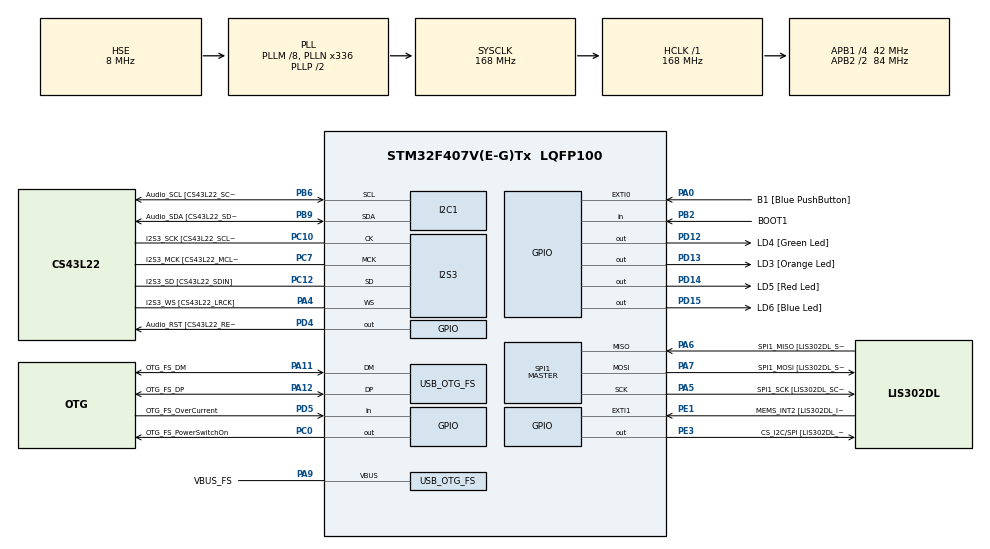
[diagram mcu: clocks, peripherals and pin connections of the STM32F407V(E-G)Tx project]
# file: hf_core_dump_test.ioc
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I2S3.AudioFreq-Half_Duplex_Master=I2S_AUDIOFREQ_96K
I2S3.ErrorAudioFreq=-2.34 %
I2S3.ErrorAudioFreq-Half_Duplex_Master=0.8 %
I2S3.FullDuplexMode=I2S_FULLDUPLEXMODE_DISABLE
I2S3.Instance=SPI$Index
I2S3.RealAudioFreq=93.75 KHz
I2S3.RealAudioFreq-Half_Duplex_Master=96.774 KHz
I2S3.VirtualMode=I2S_MODE_MASTER
Mcu.Family=STM32F4
Mcu.Name=STM32F407V(E-G)Tx
Mcu.Package=LQFP100
NVIC.OTG_FS_IRQn=true\:0\:0\:false\:false\:true\:true\:true\:true
NVIC.PriorityGroup=NVIC_PRIORITYGROUP_0
PA0-WKUP.GPIO_Label=B1 [Blue PushButton]
PA0-WKUP.GPIO_ModeDefaultEXTI=GPIO_MODE_EVT_RISING
PA0-WKUP.GPIO_PuPd=GPIO_NOPULL
PA0-WKUP.Signal=GPXTI0
PA10.GPIO_Label=OTG_FS_ID
PA10.GPIO_Mode=GPIO_MODE_AF_PP
PA10.GPIO_PuPd=GPIO_NOPULL
PA10.GPIO_Speed=GPIO_SPEED_FREQ_LOW
PA10.Signal=USB_OTG_FS_ID
PA11.GPIO_Label=OTG_FS_DM
PA11.GPIO_Mode=GPIO_MODE_AF_PP
PA11.GPIO_PuPd=GPIO_NOPULL
PA11.GPIO_Speed=GPIO_SPEED_FREQ_LOW
PA11.Mode=Host_Only
PA11.Signal=USB_OTG_FS_DM
PA12.GPIO_Label=OTG_FS_DP
PA12.GPIO_Mode=GPIO_MODE_AF_PP
PA12.GPIO_PuPd=GPIO_NOPULL
PA12.GPIO_Speed=GPIO_SPEED_FREQ_LOW
PA12.Mode=Host_Only
PA12.Signal=USB_OTG_FS_DP
PA13.GPIO_Label=SWDIO
PA13.Mode=Serial_Wire
PA13.Signal=SYS_JTMS-SWDIO
PA14.GPIO_Label=SWCLK
PA14.Mode=Serial_Wire
PA14.Signal=SYS_JTCK-SWCLK
PA4.GPIO_Label=I2S3_WS [CS43L22_LRCK]
PA4.GPIO_Mode=GPIO_MODE_AF_PP
PA4.GPIO_PuPd=GPIO_NOPULL
PA4.GPIO_Speed=GPIO_SPEED_FREQ_LOW
PA4.Mode=Half_Duplex_Master
PA4.Signal=I2S3_WS
PA5.GPIO_Label=SPI1_SCK [LIS302DL_SCL/SPC]
PA5.GPIO_Mode=GPIO_MODE_AF_PP
PA5.GPIO_PuPd=GPIO_NOPULL
PA5.GPIO_Speed=GPIO_SPEED_FREQ_LOW
PA5.Mode=Full_Duplex_Master
PA5.Signal=SPI1_SCK
PA6.GPIO_Label=SPI1_MISO [LIS302DL_SDO]
PA6.GPIO_Mode=GPIO_MODE_AF_PP
PA6.GPIO_PuPd=GPIO_NOPULL
PA6.GPIO_Speed=GPIO_SPEED_FREQ_LOW
PA6.Mode=Full_Duplex_Master
PA6.Signal=SPI1_MISO
PA7.GPIO_Label=SPI1_MOSI [LIS302DL_SDA/SDI/SDO]
PA7.GPIO_Mode=GPIO_MODE_AF_PP
PA7.GPIO_PuPd=GPIO_NOPULL
PA7.GPIO_Speed=GPIO_SPEED_FREQ_LOW
PA7.Mode=Full_Duplex_Master
PA7.Signal=SPI1_MOSI
PA9.GPIO_Label=VBUS_FS
PA9.GPIO_Mode=GPIO_MODE_INPUT
PA9.GPIO_PuPd=GPIO_NOPULL
PA9.Mode=Activate_VBUS
PA9.Signal=USB_OTG_FS_VBUS
PB10.GPIO_Label=CLK_IN [MP45DT02_CLK]
PB10.GPIO_Mode=GPIO_MODE_AF_PP
PB10.GPIO_PuPd=GPIO_NOPULL
PB10.GPIO_Speed=GPIO_SPEED_FREQ_LOW
PB10.Signal=I2S2_CK
PB2.GPIO_Label=BOOT1
PB2.GPIO_Mode=GPIO_MODE_INPUT
PB2.GPIO_PuPd=GPIO_NOPULL
PB2.Signal=GPIO_Input
PB3.GPIO_Label=SWO
PB3.Signal=SYS_JTDO-SWO
PB6.GPIO_Label=Audio_SCL [CS43L22_SCL]
PB6.GPIO_Mode=GPIO_MODE_AF_OD
PB6.GPIO_Pu=GPIO_PULLUP
PB6.GPIO_PuPd=GPIO_NOPULL
PB6.GPIO_Speed=GPIO_SPEED_FREQ_LOW
PB6.Mode=I2C
PB6.Signal=I2C1_SCL
PB9.GPIO_Label=Audio_SDA [CS43L22_SDA]
PB9.GPIO_Mode=GPIO_MODE_AF_OD
PB9.GPIO_Pu=GPIO_PULLUP
PB9.GPIO_PuPd=GPIO_NOPULL
PB9.GPIO_Speed=GPIO_SPEED_FREQ_LOW
PB9.Mode=I2C
PB9.Signal=I2C1_SDA
PC0.GPIO_Label=OTG_FS_PowerSwitchOn
PC0.GPIO_PuPd=GPIO_NOPULL
PC0.GPIO_Speed=GPIO_SPEED_FREQ_LOW
PC0.PinState=GPIO_PIN_SET
PC0.Signal=GPIO_Output
PC10.GPIO_Label=I2S3_SCK [CS43L22_SCLK]
PC10.GPIO_Mode=GPIO_MODE_AF_PP
PC10.GPIO_PuPd=GPIO_NOPULL
PC10.GPIO_Speed=GPIO_SPEED_FREQ_LOW
PC10.Mode=Half_Duplex_Master
PC10.Signal=I2S3_CK
PC12.GPIO_Label=I2S3_SD [CS43L22_SDIN]
PC12.GPIO_Mode=GPIO_MODE_AF_PP
PC12.GPIO_PuPd=GPIO_NOPULL
PC12.GPIO_Speed=GPIO_SPEED_FREQ_LOW
PC12.Mode=Half_Duplex_Master
PC12.Signal=I2S3_SD
PC14-OSC32_IN.GPIO_Label=PC14-OSC32_IN
PC14-OSC32_IN.Mode=LSE-External-Oscillator
PC14-OSC32_IN.Signal=RCC_OSC32_IN
PC15-OSC32_OUT.GPIO_Label=PC15-OSC32_OUT
PC15-OSC32_OUT.Mode=LSE-External-Oscillator
PC15-OSC32_OUT.Signal=RCC_OSC32_OUT
PC3.GPIO_Label=PDM_OUT [MP45DT02_DOUT]
PC3.GPIO_Mode=GPIO_MODE_AF_PP
PC3.GPIO_PuPd=GPIO_NOPULL
PC3.GPIO_Speed=GPIO_SPEED_FREQ_LOW
PC3.Signal=I2S2_SD
PC7.GPIO_Label=I2S3_MCK [CS43L22_MCLK]
PC7.GPIO_Mode=GPIO_MODE_AF_PP
PC7.GPIO_PuPd=GPIO_NOPULL
PC7.GPIO_Speed=GPIO_SPEED_FREQ_LOW
PC7.Mode=Master_Clock_Activated
PC7.Signal=I2S3_MCK
PD12.GPIO_Label=LD4 [Green Led]
PD12.GPIO_PuPd=GPIO_NOPULL
PD12.GPIO_Speed=GPIO_SPEED_FREQ_LOW
PD12.Signal=GPIO_Output
PD13.GPIO_Label=LD3 [Orange Led]
PD13.GPIO_PuPd=GPIO_NOPULL
PD13.GPIO_Speed=GPIO_SPEED_FREQ_LOW
PD13.Signal=GPIO_Output
PD14.GPIO_Label=LD5 [Red Led]
PD14.GPIO_PuPd=GPIO_NOPULL
PD14.GPIO_Speed=GPIO_SPEED_FREQ_LOW
PD14.Signal=GPIO_Output
PD15.GPIO_Label=LD6 [Blue Led]
PD15.GPIO_PuPd=GPIO_NOPULL
PD15.GPIO_Speed=GPIO_SPEED_FREQ_LOW
PD15.Signal=GPIO_Output
PD4.GPIO_Label=Audio_RST [CS43L22_RESET]
PD4.GPIO_PuPd=GPIO_NOPULL
PD4.GPIO_Speed=GPIO_SPEED_FREQ_LOW
PD4.Signal=GPIO_Output
PD5.GPIO_Label=OTG_FS_OverCurrent
PD5.GPIO_Mode=GPIO_MODE_INPUT
PD5.GPIO_PuPd=GPIO_NOPULL
PD5.Signal=GPIO_Input
PE1.GPIO_Label=MEMS_INT2 [LIS302DL_INT2]
PE1.GPIO_ModeDefaultEXTI=GPIO_MODE_EVT_RISING
PE1.GPIO_PuPd=GPIO_NOPULL
PE1.Signal=GPXTI1
PE3.GPIO_Label=CS_I2C/SPI [LIS302DL_CS_I2C/SPI]
PE3.GPIO_PuPd=GPIO_NOPULL
PE3.GPIO_Speed=GPIO_SPEED_FREQ_LOW
PE3.Signal=GPIO_Output
PH0-OSC_IN.GPIO_Label=PH0-OSC_IN
PH0-OSC_IN.Mode=HSE-External-Oscillator
PH0-OSC_IN.Signal=RCC_OSC_IN
PH1-OSC_OUT.GPIO_Label=PH1-OSC_OUT
PH1-OSC_OUT.Mode=HSE-External-Oscillator
PH1-OSC_OUT.Signal=RCC_OSC_OUT
ProjectManager.HeapSize=0x200
ProjectManager.StackSize=0x400
ProjectManager.TargetToolchain=STM32CubeIDE
RCC.48MHZClocksFreq_Value=48000000
RCC.AHBFreq_Value=168000000
RCC.APB1CLKDivider=RCC_HCLK_DIV4
RCC.APB1Freq_Value=42000000
RCC.APB1TimFreq_Value=84000000
RCC.APB2CLKDivider=RCC_HCLK_DIV2
RCC.APB2Freq_Value=84000000
RCC.APB2TimFreq_Value=168000000
RCC.CortexFreq_Value=168000000
RCC.HCLKFreq_Value=168000000
RCC.HSE_VALUE=8000000
RCC.HSI_VALUE=16000000
RCC.PLLM=8
RCC.PLLN=336
RCC.PLLQ=7
RCC.SYSCLKFreq_VALUE=168000000
RCC.SYSCLKSource=RCC_SYSCLKSOURCE_PLLCLK
RCC.VCOOutputFreq_Value=336000000
SPI1.BaudRatePrescaler-Full_Duplex_Master=SPI_BAUDRATEPRESCALER_2
SPI1.CalculateBaudRate-Full_Duplex_Master=42.0 MBits/s
SPI1.Direction=SPI_DIRECTION_2LINES
SPI1.Mode=SPI_MODE_MASTER
SPI1.Mode-Full_Duplex_Master=SPI_MODE_MASTER
SPI1.VirtualType=VM_MASTER
USB_HOST.BSP.number=1
USB_HOST.USBH_HandleTypeDef-CDC_FS=hUsbHostFS
USB_HOST.VirtualModeFS=Cdc
USB_HOST0.BSP.STBoard=false
USB_HOST0.BSP.api=Unknown
USB_HOST0.BSP.instance=PC0
USB_HOST0.BSP.ip=GPIO
USB_HOST0.BSP.mode=Output
USB_HOST0.BSP.name=Drive_VBUS_FS
USB_HOST0.BSP.solution=PC0
USB_OTG_FS.VirtualMode=Host_Only
USB_OTG_FS.phy_itface=HCD_PHY_EMBEDDED
VP_USB_HOST_VS_USB_HOST_CDC_FS.Mode=CDC_FS
board=STM32F407G-DISC1

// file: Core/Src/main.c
/* USER CODE BEGIN Header */
/**
  ******************************************************************************
  * @file           : main.c
  * @brief          : Main program body
  ******************************************************************************
  * @attention
  *
  * Copyright (c) 2023 STMicroelectronics.
  * All rights reserved.
  *
  * This software is licensed under terms that can be found in the LICENSE file
  * in the root directory of this software component.
  * If no LICENSE file comes with this software, it is provided AS-IS.
  *
  ******************************************************************************
  */
/* USER CODE END Header */
#include "main.h"
#include "usb_host.h"

I2C_HandleTypeDef hi2c1;

I2S_HandleTypeDef hi2s3;

SPI_HandleTypeDef hspi1;

/* USER CODE BEGIN PV */
typedef int (*add_ptr)(int,int);
/* USER CODE END PV */

void SystemClock_Config(void);
static void MX_GPIO_Init(void);
static void MX_I2C1_Init(void);
static void MX_I2S3_Init(void);
static void MX_SPI1_Init(void);
void MX_USB_HOST_Process(void);

/* USER CODE BEGIN PFP */
int add(int, int, int*);
/* USER CODE END PFP */

/* USER CODE BEGIN 0 */

uint32_t hf_registers[15] __attribute__((section (".core_dump")));
uint8_t hf_counter __attribute__((section (".core_dump")));

/* USER CODE END 0 */

int main(void)
{

  /* MCU Configuration--------------------------------------------------------*/

  /* Reset of all peripherals, Initializes the Flash interface and the Systick. */
  HAL_Init();

  /* Configure the system clock */
  SystemClock_Config();

  /* Initialize all configured peripherals */
  MX_GPIO_Init();
  MX_I2C1_Init();
  MX_I2S3_Init();
  MX_SPI1_Init();
  MX_USB_HOST_Init();
  /* USER CODE BEGIN 2 */
  if(hf_counter > 10){
	  hf_counter = 0;
  }else if(hf_counter == 0){
	  int powered_on = 1;
	  UNUSED(powered_on);
  }

  add(10,5,(int*)&hf_counter);
  /* USER CODE END 2 */

  /* Infinite loop */
  while (1)
  {
    MX_USB_HOST_Process();

  }
}

void SystemClock_Config(void)
{
  RCC_OscInitTypeDef RCC_OscInitStruct = {0};
  RCC_ClkInitTypeDef RCC_ClkInitStruct = {0};

  /** Configure the main internal regulator output voltage
  */
  __HAL_RCC_PWR_CLK_ENABLE();
  __HAL_PWR_VOLTAGESCALING_CONFIG(PWR_REGULATOR_VOLTAGE_SCALE1);

  /** Initializes the RCC Oscillators according to the specified parameters
  * in the RCC_OscInitTypeDef structure.
  */
  RCC_OscInitStruct.OscillatorType = RCC_OSCILLATORTYPE_HSE;
  RCC_OscInitStruct.HSEState = RCC_HSE_ON;
  RCC_OscInitStruct.PLL.PLLState = RCC_PLL_ON;
  RCC_OscInitStruct.PLL.PLLSource = RCC_PLLSOURCE_HSE;
  RCC_OscInitStruct.PLL.PLLM = 8;
  RCC_OscInitStruct.PLL.PLLN = 336;
  RCC_OscInitStruct.PLL.PLLP = RCC_PLLP_DIV2;
  RCC_OscInitStruct.PLL.PLLQ = 7;
  if (HAL_RCC_OscConfig(&RCC_OscInitStruct) != HAL_OK)
  {
    Error_Handler();
  }

  /** Initializes the CPU, AHB and APB buses clocks
  */
  RCC_ClkInitStruct.ClockType = RCC_CLOCKTYPE_HCLK|RCC_CLOCKTYPE_SYSCLK
                              |RCC_CLOCKTYPE_PCLK1|RCC_CLOCKTYPE_PCLK2;
  RCC_ClkInitStruct.SYSCLKSource = RCC_SYSCLKSOURCE_PLLCLK;
  RCC_ClkInitStruct.AHBCLKDivider = RCC_SYSCLK_DIV1;
  RCC_ClkInitStruct.APB1CLKDivider = RCC_HCLK_DIV4;
  RCC_ClkInitStruct.APB2CLKDivider = RCC_HCLK_DIV2;

  if (HAL_RCC_ClockConfig(&RCC_ClkInitStruct, FLASH_LATENCY_5) != HAL_OK)
  {
    Error_Handler();
  }
}

static void MX_I2C1_Init(void)
{

  hi2c1.Instance = I2C1;
  hi2c1.Init.ClockSpeed = 100000;
  hi2c1.Init.DutyCycle = I2C_DUTYCYCLE_2;
  hi2c1.Init.OwnAddress1 = 0;
  hi2c1.Init.AddressingMode = I2C_ADDRESSINGMODE_7BIT;
  hi2c1.Init.DualAddressMode = I2C_DUALADDRESS_DISABLE;
  hi2c1.Init.OwnAddress2 = 0;
  hi2c1.Init.GeneralCallMode = I2C_GENERALCALL_DISABLE;
  hi2c1.Init.NoStretchMode = I2C_NOSTRETCH_DISABLE;
  if (HAL_I2C_Init(&hi2c1) != HAL_OK)
  {
    Error_Handler();
  }

}

static void MX_I2S3_Init(void)
{

  hi2s3.Instance = SPI3;
  hi2s3.Init.Mode = I2S_MODE_MASTER_TX;
  hi2s3.Init.Standard = I2S_STANDARD_PHILIPS;
  hi2s3.Init.DataFormat = I2S_DATAFORMAT_16B;
  hi2s3.Init.MCLKOutput = I2S_MCLKOUTPUT_ENABLE;
  hi2s3.Init.AudioFreq = I2S_AUDIOFREQ_96K;
  hi2s3.Init.CPOL = I2S_CPOL_LOW;
  hi2s3.Init.ClockSource = I2S_CLOCK_PLL;
  hi2s3.Init.FullDuplexMode = I2S_FULLDUPLEXMODE_DISABLE;
  if (HAL_I2S_Init(&hi2s3) != HAL_OK)
  {
    Error_Handler();
  }

}

static void MX_SPI1_Init(void)
{

  /* SPI1 parameter configuration*/
  hspi1.Instance = SPI1;
  hspi1.Init.Mode = SPI_MODE_MASTER;
  hspi1.Init.Direction = SPI_DIRECTION_2LINES;
  hspi1.Init.DataSize = SPI_DATASIZE_8BIT;
  hspi1.Init.CLKPolarity = SPI_POLARITY_LOW;
  hspi1.Init.CLKPhase = SPI_PHASE_1EDGE;
  hspi1.Init.NSS = SPI_NSS_SOFT;
  hspi1.Init.BaudRatePrescaler = SPI_BAUDRATEPRESCALER_2;
  hspi1.Init.FirstBit = SPI_FIRSTBIT_MSB;
  hspi1.Init.TIMode = SPI_TIMODE_DISABLE;
  hspi1.Init.CRCCalculation = SPI_CRCCALCULATION_DISABLE;
  hspi1.Init.CRCPolynomial = 10;
  if (HAL_SPI_Init(&hspi1) != HAL_OK)
  {
    Error_Handler();
  }

}

static void MX_GPIO_Init(void)
{
  GPIO_InitTypeDef GPIO_InitStruct = {0};

  /* GPIO Ports Clock Enable */
  __HAL_RCC_GPIOE_CLK_ENABLE();
  __HAL_RCC_GPIOC_CLK_ENABLE();
  __HAL_RCC_GPIOH_CLK_ENABLE();
  __HAL_RCC_GPIOA_CLK_ENABLE();
  __HAL_RCC_GPIOB_CLK_ENABLE();
  __HAL_RCC_GPIOD_CLK_ENABLE();

  /*Configure GPIO pin Output Level */
  HAL_GPIO_WritePin(CS_I2C_SPI_GPIO_Port, CS_I2C_SPI_Pin, GPIO_PIN_RESET);

  /*Configure GPIO pin Output Level */
  HAL_GPIO_WritePin(OTG_FS_PowerSwitchOn_GPIO_Port, OTG_FS_PowerSwitchOn_Pin, GPIO_PIN_SET);

  /*Configure GPIO pin Output Level */
  HAL_GPIO_WritePin(GPIOD, LD4_Pin|LD3_Pin|LD5_Pin|LD6_Pin
                          |Audio_RST_Pin, GPIO_PIN_RESET);

  /*Configure GPIO pin : CS_I2C_SPI_Pin */
  GPIO_InitStruct.Pin = CS_I2C_SPI_Pin;
  GPIO_InitStruct.Mode = GPIO_MODE_OUTPUT_PP;
  GPIO_InitStruct.Pull = GPIO_NOPULL;
  GPIO_InitStruct.Speed = GPIO_SPEED_FREQ_LOW;
  HAL_GPIO_Init(CS_I2C_SPI_GPIO_Port, &GPIO_InitStruct);

  /*Configure GPIO pin : OTG_FS_PowerSwitchOn_Pin */
  GPIO_InitStruct.Pin = OTG_FS_PowerSwitchOn_Pin;
  GPIO_InitStruct.Mode = GPIO_MODE_OUTPUT_PP;
  GPIO_InitStruct.Pull = GPIO_NOPULL;
  GPIO_InitStruct.Speed = GPIO_SPEED_FREQ_LOW;
  HAL_GPIO_Init(OTG_FS_PowerSwitchOn_GPIO_Port, &GPIO_InitStruct);

  /*Configure GPIO pin : PDM_OUT_Pin */
  GPIO_InitStruct.Pin = PDM_OUT_Pin;
  GPIO_InitStruct.Mode = GPIO_MODE_AF_PP;
  GPIO_InitStruct.Pull = GPIO_NOPULL;
  GPIO_InitStruct.Speed = GPIO_SPEED_FREQ_LOW;
  GPIO_InitStruct.Alternate = GPIO_AF5_SPI2;
  HAL_GPIO_Init(PDM_OUT_GPIO_Port, &GPIO_InitStruct);

  /*Configure GPIO pin : B1_Pin */
  GPIO_InitStruct.Pin = B1_Pin;
  GPIO_InitStruct.Mode = GPIO_MODE_EVT_RISING;
  GPIO_InitStruct.Pull = GPIO_NOPULL;
  HAL_GPIO_Init(B1_GPIO_Port, &GPIO_InitStruct);

  /*Configure GPIO pin : BOOT1_Pin */
  GPIO_InitStruct.Pin = BOOT1_Pin;
  GPIO_InitStruct.Mode = GPIO_MODE_INPUT;
  GPIO_InitStruct.Pull = GPIO_NOPULL;
  HAL_GPIO_Init(BOOT1_GPIO_Port, &GPIO_InitStruct);

  /*Configure GPIO pin : CLK_IN_Pin */
  GPIO_InitStruct.Pin = CLK_IN_Pin;
  GPIO_InitStruct.Mode = GPIO_MODE_AF_PP;
  GPIO_InitStruct.Pull = GPIO_NOPULL;
  GPIO_InitStruct.Speed = GPIO_SPEED_FREQ_LOW;
  GPIO_InitStruct.Alternate = GPIO_AF5_SPI2;
  HAL_GPIO_Init(CLK_IN_GPIO_Port, &GPIO_InitStruct);

  /*Configure GPIO pins : LD4_Pin LD3_Pin LD5_Pin LD6_Pin
                           Audio_RST_Pin */
  GPIO_InitStruct.Pin = LD4_Pin|LD3_Pin|LD5_Pin|LD6_Pin
                          |Audio_RST_Pin;
  GPIO_InitStruct.Mode = GPIO_MODE_OUTPUT_PP;
  GPIO_InitStruct.Pull = GPIO_NOPULL;
  GPIO_InitStruct.Speed = GPIO_SPEED_FREQ_LOW;
  HAL_GPIO_Init(GPIOD, &GPIO_InitStruct);

  /*Configure GPIO pin : OTG_FS_OverCurrent_Pin */
  GPIO_InitStruct.Pin = OTG_FS_OverCurrent_Pin;
  GPIO_InitStruct.Mode = GPIO_MODE_INPUT;
  GPIO_InitStruct.Pull = GPIO_NOPULL;
  HAL_GPIO_Init(OTG_FS_OverCurrent_GPIO_Port, &GPIO_InitStruct);

  /*Configure GPIO pin : MEMS_INT2_Pin */
  GPIO_InitStruct.Pin = MEMS_INT2_Pin;
  GPIO_InitStruct.Mode = GPIO_MODE_EVT_RISING;
  GPIO_InitStruct.Pull = GPIO_NOPULL;
  HAL_GPIO_Init(MEMS_INT2_GPIO_Port, &GPIO_InitStruct);

}

/* USER CODE BEGIN 4 */
int add(int a, int b, int *cptr){
	int sum = a + b + *cptr;
	add_ptr func = NULL;
	int jump = func(a, b);
	UNUSED(jump);
	return sum;
}
/* USER CODE END 4 */

void Error_Handler(void)
{
  __disable_irq();
  while (1)
  {
  }
}
